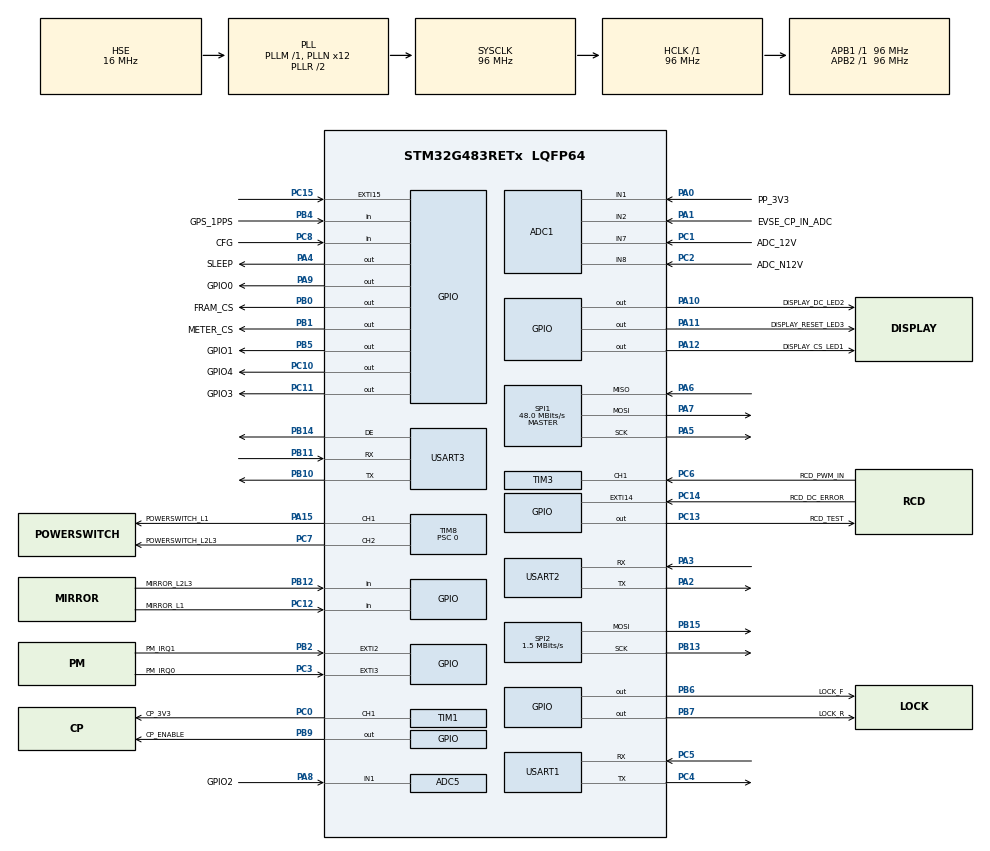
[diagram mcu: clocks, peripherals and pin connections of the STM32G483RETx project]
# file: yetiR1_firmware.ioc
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ADC1.Channel-0\#ChannelRegularConversion=ADC_CHANNEL_TEMPSENSOR_ADC1
ADC1.Channel-1\#ChannelRegularConversion=ADC_CHANNEL_1
ADC1.Channel-2\#ChannelRegularConversion=ADC_CHANNEL_7
ADC1.Channel-3\#ChannelRegularConversion=ADC_CHANNEL_8
ADC1.Channel-4\#ChannelRegularConversion=ADC_CHANNEL_2
ADC1.Channel-5\#ChannelRegularConversion=ADC_CHANNEL_VREFINT
ADC1.ClockPrescaler=ADC_CLOCK_ASYNC_DIV16
ADC1.EOCSelection=ADC_EOC_SEQ_CONV
ADC1.NbrOfConversion=6
ADC1.NbrOfConversionFlag=1
ADC1.OffsetNumber-0\#ChannelRegularConversion=ADC_OFFSET_NONE
ADC1.OffsetNumber-1\#ChannelRegularConversion=ADC_OFFSET_NONE
ADC1.OffsetNumber-2\#ChannelRegularConversion=ADC_OFFSET_NONE
ADC1.OffsetNumber-3\#ChannelRegularConversion=ADC_OFFSET_NONE
ADC1.OffsetNumber-4\#ChannelRegularConversion=ADC_OFFSET_NONE
ADC1.OffsetNumber-5\#ChannelRegularConversion=ADC_OFFSET_NONE
ADC1.Overrun=ADC_OVR_DATA_OVERWRITTEN
ADC1.Rank-0\#ChannelRegularConversion=1
ADC1.Rank-1\#ChannelRegularConversion=2
ADC1.Rank-2\#ChannelRegularConversion=3
ADC1.Rank-3\#ChannelRegularConversion=4
ADC1.Rank-4\#ChannelRegularConversion=5
ADC1.Rank-5\#ChannelRegularConversion=6
ADC1.SamplingTime-0\#ChannelRegularConversion=ADC_SAMPLETIME_12CYCLES_5
ADC1.SamplingTime-1\#ChannelRegularConversion=ADC_SAMPLETIME_12CYCLES_5
ADC1.SamplingTime-2\#ChannelRegularConversion=ADC_SAMPLETIME_12CYCLES_5
ADC1.SamplingTime-3\#ChannelRegularConversion=ADC_SAMPLETIME_12CYCLES_5
ADC1.SamplingTime-4\#ChannelRegularConversion=ADC_SAMPLETIME_24CYCLES_5
ADC1.SamplingTime-5\#ChannelRegularConversion=ADC_SAMPLETIME_12CYCLES_5
ADC1.master=1
ADC5.Channel-0\#ChannelRegularConversion=ADC_CHANNEL_1
ADC5.NbrOfConversionFlag=1
ADC5.OffsetNumber-0\#ChannelRegularConversion=ADC_OFFSET_NONE
ADC5.Rank-0\#ChannelRegularConversion=1
ADC5.SamplingTime-0\#ChannelRegularConversion=ADC_SAMPLETIME_2CYCLES_5
CRC.InputDataInversionMode=CRC_INPUTDATA_INVERSION_BYTE
CRC.OutputDataInversionMode=CRC_OUTPUTDATA_INVERSION_ENABLE
Dma.ADC1.2.Direction=DMA_PERIPH_TO_MEMORY
Dma.ADC1.2.EventEnable=DISABLE
Dma.ADC1.2.Instance=DMA1_Channel1
Dma.ADC1.2.MemDataAlignment=DMA_MDATAALIGN_HALFWORD
Dma.ADC1.2.MemInc=DMA_MINC_ENABLE
Dma.ADC1.2.Mode=DMA_NORMAL
Dma.ADC1.2.PeriphDataAlignment=DMA_PDATAALIGN_HALFWORD
Dma.ADC1.2.PeriphInc=DMA_PINC_DISABLE
Dma.ADC1.2.Polarity=HAL_DMAMUX_REQ_GEN_RISING
Dma.ADC1.2.Priority=DMA_PRIORITY_HIGH
Dma.ADC1.2.RequestNumber=1
Dma.ADC1.2.SignalID=NONE
Dma.ADC1.2.SyncEnable=DISABLE
Dma.ADC1.2.SyncPolarity=HAL_DMAMUX_SYNC_NO_EVENT
Dma.ADC1.2.SyncRequestNumber=1
Dma.ADC1.2.SyncSignalID=NONE
Dma.Request0=USART2_TX
Dma.Request1=USART2_RX
Dma.Request2=ADC1
Dma.Request3=SPI2_TX
Dma.SPI2_TX.3.Direction=DMA_MEMORY_TO_PERIPH
Dma.SPI2_TX.3.EventEnable=DISABLE
Dma.SPI2_TX.3.Instance=DMA1_Channel6
Dma.SPI2_TX.3.MemDataAlignment=DMA_MDATAALIGN_BYTE
Dma.SPI2_TX.3.MemInc=DMA_MINC_ENABLE
Dma.SPI2_TX.3.Mode=DMA_NORMAL
Dma.SPI2_TX.3.PeriphDataAlignment=DMA_PDATAALIGN_BYTE
Dma.SPI2_TX.3.PeriphInc=DMA_PINC_DISABLE
Dma.SPI2_TX.3.Polarity=HAL_DMAMUX_REQ_GEN_RISING
Dma.SPI2_TX.3.Priority=DMA_PRIORITY_LOW
Dma.SPI2_TX.3.RequestNumber=1
Dma.SPI2_TX.3.SignalID=NONE
Dma.SPI2_TX.3.SyncEnable=DISABLE
Dma.SPI2_TX.3.SyncPolarity=HAL_DMAMUX_SYNC_NO_EVENT
Dma.SPI2_TX.3.SyncRequestNumber=1
Dma.SPI2_TX.3.SyncSignalID=NONE
Dma.USART2_RX.1.Direction=DMA_PERIPH_TO_MEMORY
Dma.USART2_RX.1.EventEnable=DISABLE
Dma.USART2_RX.1.Instance=DMA2_Channel4
Dma.USART2_RX.1.MemDataAlignment=DMA_MDATAALIGN_BYTE
Dma.USART2_RX.1.MemInc=DMA_MINC_ENABLE
Dma.USART2_RX.1.Mode=DMA_CIRCULAR
Dma.USART2_RX.1.PeriphDataAlignment=DMA_PDATAALIGN_BYTE
Dma.USART2_RX.1.PeriphInc=DMA_PINC_DISABLE
Dma.USART2_RX.1.Polarity=HAL_DMAMUX_REQ_GEN_RISING
Dma.USART2_RX.1.Priority=DMA_PRIORITY_LOW
Dma.USART2_RX.1.RequestNumber=1
Dma.USART2_RX.1.SignalID=NONE
Dma.USART2_RX.1.SyncEnable=DISABLE
Dma.USART2_RX.1.SyncPolarity=HAL_DMAMUX_SYNC_NO_EVENT
Dma.USART2_RX.1.SyncRequestNumber=1
Dma.USART2_RX.1.SyncSignalID=NONE
Dma.USART2_TX.0.Direction=DMA_MEMORY_TO_PERIPH
Dma.USART2_TX.0.EventEnable=DISABLE
Dma.USART2_TX.0.Instance=DMA2_Channel3
Dma.USART2_TX.0.MemDataAlignment=DMA_MDATAALIGN_BYTE
Dma.USART2_TX.0.MemInc=DMA_MINC_ENABLE
Dma.USART2_TX.0.Mode=DMA_NORMAL
Dma.USART2_TX.0.PeriphDataAlignment=DMA_PDATAALIGN_BYTE
Dma.USART2_TX.0.PeriphInc=DMA_PINC_DISABLE
Dma.USART2_TX.0.Polarity=HAL_DMAMUX_REQ_GEN_RISING
Dma.USART2_TX.0.Priority=DMA_PRIORITY_LOW
Dma.USART2_TX.0.RequestNumber=1
Dma.USART2_TX.0.SignalID=NONE
Dma.USART2_TX.0.SyncEnable=DISABLE
Dma.USART2_TX.0.SyncPolarity=HAL_DMAMUX_SYNC_NO_EVENT
Dma.USART2_TX.0.SyncRequestNumber=1
Dma.USART2_TX.0.SyncSignalID=NONE
FREERTOS.Tasks01=defaultTask,24,512,StartDefaultTask,Default,NULL,Dynamic,NULL,NULL
FREERTOS.configENABLE_FPU=0
FREERTOS.configTICK_RATE_HZ=1000
FREERTOS.configTOTAL_HEAP_SIZE=32768
FREERTOS.configUSE_NEWLIB_REENTRANT=1
Mcu.Family=STM32G4
Mcu.Name=STM32G483RETx
Mcu.Package=LQFP64
NVIC.DMA1_Channel1_IRQn=true\:5\:0\:false\:false\:true\:true\:false\:true\:true
NVIC.DMA1_Channel6_IRQn=true\:5\:0\:false\:false\:true\:true\:false\:true\:true
NVIC.DMA2_Channel3_IRQn=true\:5\:0\:false\:false\:true\:false\:false\:true\:true
NVIC.DMA2_Channel4_IRQn=true\:5\:0\:false\:false\:true\:false\:false\:true\:true
NVIC.EXTI15_10_IRQn=true\:5\:0\:false\:false\:true\:true\:true\:true\:true
NVIC.EXTI2_IRQn=true\:5\:0\:false\:false\:true\:true\:true\:true\:true
NVIC.PriorityGroup=NVIC_PRIORITYGROUP_4
NVIC.TIM1_CC_IRQn=true\:5\:0\:false\:false\:true\:true\:true\:true\:true
NVIC.TIM1_UP_TIM16_IRQn=true\:5\:0\:false\:false\:true\:true\:true\:true\:true
NVIC.TIM3_IRQn=true\:5\:0\:false\:false\:true\:true\:true\:true\:true
NVIC.USART2_IRQn=true\:5\:0\:false\:false\:true\:true\:true\:true\:true
PA0.GPIO_Label=PP_3V3
PA0.Mode=IN1-Single-Ended
PA0.Signal=ADC1_IN1
PA1.GPIO_Label=EVSE_CP_IN_ADC
PA1.Mode=IN2-Single-Ended
PA1.Signal=ADC1_IN2
PA10.GPIO_Label=DISPLAY_DC_LED2
PA10.Signal=GPIO_Output
PA11.GPIO_Label=DISPLAY_RESET_LED3
PA11.PinState=GPIO_PIN_RESET
PA11.Signal=GPIO_Output
PA12.GPIO_Label=DISPLAY_CS_LED1
PA12.Signal=GPIO_Output
PA13.Mode=Trace_Asynchronous_SW
PA13.Signal=SYS_JTMS-SWDIO
PA14.Mode=Trace_Asynchronous_SW
PA14.Signal=SYS_JTCK-SWCLK
PA15.GPIO_Label=POWERSWITCH_L1
PA15.GPIO_PuPd=GPIO_PULLDOWN
PA15.Signal=S_TIM8_CH1
PA2.GPIO_PuPd=GPIO_PULLUP
PA2.Mode=Asynchronous
PA2.Signal=USART2_TX
PA3.GPIO_PuPd=GPIO_PULLUP
PA3.Mode=Asynchronous
PA3.Signal=USART2_RX
PA4.GPIO_Label=SLEEP
PA4.GPIO_PuPd=GPIO_PULLUP
PA4.PinState=GPIO_PIN_SET
PA4.Signal=GPIO_Output
PA5.Mode=Full_Duplex_Master
PA5.Signal=SPI1_SCK
PA6.Mode=Full_Duplex_Master
PA6.Signal=SPI1_MISO
PA7.Mode=Full_Duplex_Master
PA7.Signal=SPI1_MOSI
PA8.GPIO_Label=GPIO2
PA8.Mode=IN1-Single-Ended
PA8.Signal=ADC5_IN1
PA9.GPIO_Label=GPIO0
PA9.Signal=GPIO_Output
PB0.GPIO_Label=FRAM_CS
PB0.GPIO_PuPd=GPIO_PULLUP
PB0.PinState=GPIO_PIN_SET
PB0.Signal=GPIO_Output
PB1.GPIO_Label=METER_CS
PB1.GPIO_ModeDefaultOutputPP=GPIO_MODE_OUTPUT_PP
PB1.GPIO_PuPd=GPIO_PULLUP
PB1.PinState=GPIO_PIN_SET
PB1.Signal=GPIO_Output
PB10.Mode=Asynchronous
PB10.Signal=USART3_TX
PB11.Mode=Asynchronous
PB11.Signal=USART3_RX
PB12.GPIO_Label=MIRROR_L2L3
PB12.GPIO_PuPd=GPIO_PULLDOWN
PB12.Signal=GPIO_Input
PB13.Mode=TX_Only_Simplex_Unidirect_Master
PB13.Signal=SPI2_SCK
PB14.Mode=Hardware Flow Control (RS485)
PB14.Signal=USART3_DE
PB15.Mode=TX_Only_Simplex_Unidirect_Master
PB15.Signal=SPI2_MOSI
PB2.GPIO_Label=PM_IRQ1
PB2.GPIO_ModeDefaultEXTI=GPIO_MODE_IT_FALLING
PB2.GPIO_PuPd=GPIO_PULLUP
PB2.Signal=GPXTI2
PB3.Mode=Trace_Asynchronous_SW
PB3.Signal=SYS_JTDO-SWO
PB4.GPIO_Label=GPS_1PPS
PB4.Signal=GPIO_Input
PB5.GPIO_Label=GPIO1
PB5.Signal=GPIO_Output
PB6.GPIO_Label=LOCK_F
PB6.Signal=GPIO_Output
PB7.GPIO_Label=LOCK_R
PB7.Signal=GPIO_Output
PB9.GPIO_Label=CP_ENABLE
PB9.PinState=GPIO_PIN_RESET
PB9.Signal=GPIO_Output
PC0.GPIO_Label=CP_3V3
PC0.Signal=S_TIM1_CH1
PC1.GPIO_Label=ADC_12V
PC1.Mode=IN7-Single-Ended
PC1.Signal=ADC1_IN7
PC10.GPIO_Label=GPIO4
PC10.Signal=GPIO_Output
PC11.GPIO_Label=GPIO3
PC11.Signal=GPIO_Output
PC12.GPIO_Label=MIRROR_L1
PC12.GPIO_PuPd=GPIO_PULLDOWN
PC12.Signal=GPIO_Input
PC13.GPIO_Label=RCD_TEST
PC13.PinState=GPIO_PIN_RESET
PC13.Signal=GPIO_Output
PC14-OSC32_IN.GPIO_Label=RCD_DC_ERROR
PC14-OSC32_IN.GPIO_ModeDefaultEXTI=GPIO_MODE_IT_RISING
PC14-OSC32_IN.GPIO_PuPd=GPIO_PULLDOWN
PC14-OSC32_IN.Signal=GPXTI14
PC15-OSC32_OUT.Signal=GPXTI15
PC2.GPIO_Label=ADC_N12V
PC2.Mode=IN8-Single-Ended
PC2.Signal=ADC1_IN8
PC3.GPIO_Label=PM_IRQ0
PC3.GPIO_ModeDefaultEXTI=GPIO_MODE_IT_FALLING
PC3.GPIO_PuPd=GPIO_PULLUP
PC3.Signal=GPXTI3
PC4.Mode=Asynchronous
PC4.Signal=USART1_TX
PC5.Mode=Asynchronous
PC5.Signal=USART1_RX
PC6.GPIO_Label=RCD_PWM_IN
PC6.GPIO_PuPd=GPIO_PULLDOWN
PC6.Signal=S_TIM3_CH1
PC7.GPIO_Label=POWERSWITCH_L2L3
PC7.GPIO_PuPd=GPIO_PULLDOWN
PC7.Signal=S_TIM8_CH2
PC8.GPIO_Label=CFG
PC8.GPIO_PuPd=GPIO_PULLUP
PC8.Signal=GPIO_Input
PF0-OSC_IN.Mode=HSE-External-Oscillator
PF0-OSC_IN.Signal=RCC_OSC_IN
PF1-OSC_OUT.Mode=HSE-External-Oscillator
PF1-OSC_OUT.Signal=RCC_OSC_OUT
ProjectManager.HeapSize=0x200
ProjectManager.StackSize=0x400
ProjectManager.TargetToolchain=STM32CubeIDE
RCC.ADC12Freq_Value=96000000
RCC.ADC345Freq_Value=96000000
RCC.AHBFreq_Value=96000000
RCC.APB1Freq_Value=96000000
RCC.APB1TimFreq_Value=96000000
RCC.APB2Freq_Value=96000000
RCC.APB2TimFreq_Value=96000000
RCC.CortexFreq_Value=96000000
RCC.EXTERNAL_CLOCK_VALUE=12288000
RCC.HCLKFreq_Value=96000000
RCC.HSE_VALUE=16000000
RCC.HSI48_VALUE=48000000
RCC.HSI_VALUE=16000000
RCC.LSE_VALUE=32768
RCC.PLLN=12
RCC.PLLSourceVirtual=RCC_PLLSOURCE_HSE
RCC.SYSCLKFreq_VALUE=96000000
RCC.SYSCLKSource=RCC_SYSCLKSOURCE_PLLCLK
RCC.USBFreq_Value=96000000
RCC.VCOOutputFreq_Value=192000000
SH.S_TIM1_CH1.0=TIM1_CH1,PWM Generation1 CH1
SH.S_TIM3_CH1.0=TIM3_CH1,Input_Capture1_from_TI1
SH.S_TIM3_CH1.1=TIM3_CH1,Input_Capture2_from_TI1
SH.S_TIM8_CH1.0=TIM8_CH1,PWM Generation1 CH1
SH.S_TIM8_CH2.0=TIM8_CH2,PWM Generation2 CH2
SPI1.CLKPhase=SPI_PHASE_2EDGE
SPI1.CLKPolarity=SPI_POLARITY_HIGH
SPI1.CalculateBaudRate=48.0 MBits/s
SPI1.DataSize=SPI_DATASIZE_8BIT
SPI1.Direction=SPI_DIRECTION_2LINES
SPI1.Mode=SPI_MODE_MASTER
SPI1.VirtualType=VM_MASTER
SPI2.BaudRatePrescaler=SPI_BAUDRATEPRESCALER_64
SPI2.CLKPhase=SPI_PHASE_2EDGE
SPI2.CLKPolarity=SPI_POLARITY_HIGH
SPI2.CalculateBaudRate=1.5 MBits/s
SPI2.DataSize=SPI_DATASIZE_8BIT
SPI2.Direction=SPI_DIRECTION_2LINES
SPI2.Mode=SPI_MODE_MASTER
SPI2.VirtualType=VM_MASTER
TIM1.Channel-Output\ Compare2\ No\ Output=TIM_CHANNEL_2
TIM1.Channel-Output\ Compare3\ No\ Output=TIM_CHANNEL_3
TIM1.Channel-PWM\ Generation1\ CH1=TIM_CHANNEL_1
TIM1.OC2Preload=ENABLE
TIM1.OC3Preload-Output\ Compare3\ No\ Output=ENABLE
TIM1.OCMode_2=TIM_OCMODE_TOGGLE
TIM1.OCMode_3=TIM_OCMODE_TOGGLE
TIM1.PeriodNoDither=47999
TIM1.Prescaler=1
TIM1.PulseNoDither_1=32767
TIM1.PulseNoDither_2=200
TIM1.PulseNoDither_3=45500
TIM3.Channel-Input_Capture1_from_TI1=TIM_CHANNEL_1
TIM3.Channel-Input_Capture2_from_TI1=TIM_CHANNEL_2
TIM3.ICPolarity_CH2=TIM_INPUTCHANNELPOLARITY_FALLING
TIM8.Channel-PWM\ Generation1\ CH1=TIM_CHANNEL_1
TIM8.Channel-PWM\ Generation2\ CH2=TIM_CHANNEL_2
TIM8.PeriodNoDither=4799
TIM8.Prescaler=0
USART1.VirtualMode-Asynchronous=VM_ASYNC
USART2.VirtualMode-Asynchronous=VM_ASYNC
USART3.VirtualMode-Asynchronous=VM_ASYNC
USART3.VirtualMode-Hardware\ Flow\ Control\ (RS485)=VM_ASYNC
VP_ADC1_TempSens_Input.Mode=IN-TempSens
VP_ADC1_Vref_Input.Mode=IN-Vrefint
VP_CRC_VS_CRC.Mode=CRC_Activate
VP_FREERTOS_VS_CMSIS_V2.Mode=CMSIS_V2
VP_SYS_VS_DBSignals.Mode=DisableDeadBatterySignals
VP_TIM1_VS_no_output2.Mode=Output Compare2 No Output
VP_TIM1_VS_no_output3.Mode=Output Compare3 No Output
VP_TIM3_VS_ClockSourceINT.Mode=Internal
board=custom

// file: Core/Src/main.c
/* USER CODE BEGIN Header */
/**
  ******************************************************************************
  * @file           : main.c
  * @brief          : Main program body
  ******************************************************************************
  * @attention
  *
  * <h2><center>&copy; Copyright (c) 2021 STMicroelectronics.
  * All rights reserved.</center></h2>
  *
  * This software component is licensed by ST under BSD 3-Clause license,
  * the "License"; You may not use this file except in compliance with the
  * License. You may obtain a copy of the License at:
  *                        opensource.org/licenses/BSD-3-Clause
  *
  ******************************************************************************
  */
/* USER CODE END Header */
#include "main.h"
#include "cmsis_os.h"

/* USER CODE BEGIN Includes */
#include "EVTasks/MainTask.h"
#include "EVConfig.h"
#include <stdio.h>
#include "EVDrivers/FirmwareUpdater.h"
/* USER CODE END Includes */

ADC_HandleTypeDef hadc1;
ADC_HandleTypeDef hadc5;
DMA_HandleTypeDef hdma_adc1;

CRC_HandleTypeDef hcrc;

SPI_HandleTypeDef hspi1;
SPI_HandleTypeDef hspi2;
DMA_HandleTypeDef hdma_spi2_tx;

TIM_HandleTypeDef htim1;
TIM_HandleTypeDef htim3;
TIM_HandleTypeDef htim8;

UART_HandleTypeDef huart1;
UART_HandleTypeDef huart2;
UART_HandleTypeDef huart3;
DMA_HandleTypeDef hdma_usart2_tx;
DMA_HandleTypeDef hdma_usart2_rx;

/* Definitions for defaultTask */
osThreadId_t defaultTaskHandle;
const osThreadAttr_t defaultTask_attributes = {
  .name = "defaultTask",
  .priority = (osPriority_t) osPriorityNormal,
  .stack_size = 512 * 4
};

void SystemClock_Config(void);
static void MX_GPIO_Init(void);
static void MX_DMA_Init(void);
static void MX_USART2_UART_Init(void);
static void MX_USART1_UART_Init(void);
static void MX_USART3_UART_Init(void);
static void MX_SPI1_Init(void);
static void MX_SPI2_Init(void);
static void MX_ADC1_Init(void);
static void MX_TIM1_Init(void);
static void MX_TIM3_Init(void);
static void MX_CRC_Init(void);
static void MX_ADC5_Init(void);
static void MX_TIM8_Init(void);
void StartDefaultTask(void *argument);

int main(void)
{
  /* USER CODE BEGIN 1 */

	if (reset_flags==0x12ABCDEF) {
	  for (int i=0;i<100;i++) reset_flags = i;
	  restartInBootLoaderMode_Step2();
  }

	__HAL_RCC_USART1_CLK_ENABLE();
	__HAL_RCC_USART1_FORCE_RESET();
	__HAL_RCC_USART1_RELEASE_RESET();

  /* USER CODE END 1 */

  /* MCU Configuration--------------------------------------------------------*/

  /* Reset of all peripherals, Initializes the Flash interface and the Systick. */
  HAL_Init();

  /* Configure the system clock */
  SystemClock_Config();

  /* Initialize all configured peripherals */
  MX_GPIO_Init();
  MX_DMA_Init();
  MX_USART2_UART_Init();
  MX_USART1_UART_Init();
  MX_USART3_UART_Init();
  MX_SPI1_Init();
  MX_SPI2_Init();
  MX_ADC1_Init();
  MX_TIM1_Init();
  MX_TIM3_Init();
  MX_CRC_Init();
  MX_ADC5_Init();
  MX_TIM8_Init();
  /* USER CODE BEGIN 2 */
  HAL_NVIC_SetPriority(DMA1_Channel1_IRQn, 6, 0);
  HAL_NVIC_SetPriority(DMA1_Channel2_IRQn, 6, 0);
  HAL_NVIC_SetPriority(DMA1_Channel3_IRQn, 6, 0);
  HAL_NVIC_SetPriority(DMA1_Channel4_IRQn, 6, 0);
  HAL_NVIC_SetPriority(DMA1_Channel5_IRQn, 6, 0);
  HAL_NVIC_SetPriority(DMA1_Channel6_IRQn, 6, 0);
  HAL_NVIC_SetPriority(TIM1_UP_TIM16_IRQn, 6, 0);
  HAL_NVIC_SetPriority(TIM1_CC_IRQn, 6, 0);
  HAL_NVIC_SetPriority(TIM3_IRQn, 6, 0);
  HAL_NVIC_SetPriority(USART2_IRQn, 6, 0);
  /* USER CODE END 2 */

  /* Init scheduler */
  osKernelInitialize();

  /* Create the thread(s) */
  /* creation of defaultTask */
  defaultTaskHandle = osThreadNew(StartDefaultTask, NULL, &defaultTask_attributes);

  /* USER CODE BEGIN RTOS_THREADS */
#ifdef SELFTEST_MODE
  osThreadId_t selfTestTaskHandle;
  const osThreadAttr_t selfTestTask_attributes = {
    .name = "selfTestTask",
    .priority = (osPriority_t) osPriorityNormal,
    .stack_size = 512 * 4
  };
#endif
  /* USER CODE END RTOS_THREADS */

  /* Start scheduler */
  osKernelStart();

  /* We should never get here as control is now taken by the scheduler */
  /* Infinite loop */
  while (1)
  {

  }
}

void SystemClock_Config(void)
{
  RCC_OscInitTypeDef RCC_OscInitStruct = {0};
  RCC_ClkInitTypeDef RCC_ClkInitStruct = {0};

  /** Configure the main internal regulator output voltage
  */
  HAL_PWREx_ControlVoltageScaling(PWR_REGULATOR_VOLTAGE_SCALE1);

  /** Initializes the RCC Oscillators according to the specified parameters
  * in the RCC_OscInitTypeDef structure.
  */
  RCC_OscInitStruct.OscillatorType = RCC_OSCILLATORTYPE_HSE;
  RCC_OscInitStruct.HSEState = RCC_HSE_ON;
  RCC_OscInitStruct.PLL.PLLState = RCC_PLL_ON;
  RCC_OscInitStruct.PLL.PLLSource = RCC_PLLSOURCE_HSE;
  RCC_OscInitStruct.PLL.PLLM = RCC_PLLM_DIV1;
  RCC_OscInitStruct.PLL.PLLN = 12;
  RCC_OscInitStruct.PLL.PLLP = RCC_PLLP_DIV2;
  RCC_OscInitStruct.PLL.PLLQ = RCC_PLLQ_DIV2;
  RCC_OscInitStruct.PLL.PLLR = RCC_PLLR_DIV2;
  if (HAL_RCC_OscConfig(&RCC_OscInitStruct) != HAL_OK)
  {
    Error_Handler();
  }

  /** Initializes the CPU, AHB and APB buses clocks
  */
  RCC_ClkInitStruct.ClockType = RCC_CLOCKTYPE_HCLK|RCC_CLOCKTYPE_SYSCLK
                              |RCC_CLOCKTYPE_PCLK1|RCC_CLOCKTYPE_PCLK2;
  RCC_ClkInitStruct.SYSCLKSource = RCC_SYSCLKSOURCE_PLLCLK;
  RCC_ClkInitStruct.AHBCLKDivider = RCC_SYSCLK_DIV1;
  RCC_ClkInitStruct.APB1CLKDivider = RCC_HCLK_DIV1;
  RCC_ClkInitStruct.APB2CLKDivider = RCC_HCLK_DIV1;

  if (HAL_RCC_ClockConfig(&RCC_ClkInitStruct, FLASH_LATENCY_3) != HAL_OK)
  {
    Error_Handler();
  }
}

static void MX_ADC1_Init(void)
{

  ADC_MultiModeTypeDef multimode = {0};
  ADC_ChannelConfTypeDef sConfig = {0};

  /** Common config
  */
  hadc1.Instance = ADC1;
  hadc1.Init.ClockPrescaler = ADC_CLOCK_ASYNC_DIV16;
  hadc1.Init.Resolution = ADC_RESOLUTION_12B;
  hadc1.Init.DataAlign = ADC_DATAALIGN_RIGHT;
  hadc1.Init.GainCompensation = 0;
  hadc1.Init.ScanConvMode = ADC_SCAN_ENABLE;
  hadc1.Init.EOCSelection = ADC_EOC_SEQ_CONV;
  hadc1.Init.LowPowerAutoWait = DISABLE;
  hadc1.Init.ContinuousConvMode = DISABLE;
  hadc1.Init.NbrOfConversion = 6;
  hadc1.Init.DiscontinuousConvMode = DISABLE;
  hadc1.Init.ExternalTrigConv = ADC_SOFTWARE_START;
  hadc1.Init.ExternalTrigConvEdge = ADC_EXTERNALTRIGCONVEDGE_NONE;
  hadc1.Init.DMAContinuousRequests = DISABLE;
  hadc1.Init.Overrun = ADC_OVR_DATA_OVERWRITTEN;
  hadc1.Init.OversamplingMode = DISABLE;
  if (HAL_ADC_Init(&hadc1) != HAL_OK)
  {
    Error_Handler();
  }

  /** Configure the ADC multi-mode
  */
  multimode.Mode = ADC_MODE_INDEPENDENT;
  if (HAL_ADCEx_MultiModeConfigChannel(&hadc1, &multimode) != HAL_OK)
  {
    Error_Handler();
  }

  /** Configure Regular Channel
  */
  sConfig.Channel = ADC_CHANNEL_TEMPSENSOR_ADC1;
  sConfig.Rank = ADC_REGULAR_RANK_1;
  sConfig.SamplingTime = ADC_SAMPLETIME_12CYCLES_5;
  sConfig.SingleDiff = ADC_SINGLE_ENDED;
  sConfig.OffsetNumber = ADC_OFFSET_NONE;
  sConfig.Offset = 0;
  if (HAL_ADC_ConfigChannel(&hadc1, &sConfig) != HAL_OK)
  {
    Error_Handler();
  }

  /** Configure Regular Channel
  */
  sConfig.Channel = ADC_CHANNEL_1;
  sConfig.Rank = ADC_REGULAR_RANK_2;
  if (HAL_ADC_ConfigChannel(&hadc1, &sConfig) != HAL_OK)
  {
    Error_Handler();
  }

  /** Configure Regular Channel
  */
  sConfig.Channel = ADC_CHANNEL_7;
  sConfig.Rank = ADC_REGULAR_RANK_3;
  if (HAL_ADC_ConfigChannel(&hadc1, &sConfig) != HAL_OK)
  {
    Error_Handler();
  }

  /** Configure Regular Channel
  */
  sConfig.Channel = ADC_CHANNEL_8;
  sConfig.Rank = ADC_REGULAR_RANK_4;
  if (HAL_ADC_ConfigChannel(&hadc1, &sConfig) != HAL_OK)
  {
    Error_Handler();
  }

  /** Configure Regular Channel
  */
  sConfig.Channel = ADC_CHANNEL_2;
  sConfig.Rank = ADC_REGULAR_RANK_5;
  sConfig.SamplingTime = ADC_SAMPLETIME_24CYCLES_5;
  if (HAL_ADC_ConfigChannel(&hadc1, &sConfig) != HAL_OK)
  {
    Error_Handler();
  }

  /** Configure Regular Channel
  */
  sConfig.Channel = ADC_CHANNEL_VREFINT;
  sConfig.Rank = ADC_REGULAR_RANK_6;
  sConfig.SamplingTime = ADC_SAMPLETIME_12CYCLES_5;
  if (HAL_ADC_ConfigChannel(&hadc1, &sConfig) != HAL_OK)
  {
    Error_Handler();
  }

}

static void MX_ADC5_Init(void)
{

  ADC_ChannelConfTypeDef sConfig = {0};

  /** Common config
  */
  hadc5.Instance = ADC5;
  hadc5.Init.ClockPrescaler = ADC_CLOCK_SYNC_PCLK_DIV2;
  hadc5.Init.Resolution = ADC_RESOLUTION_12B;
  hadc5.Init.DataAlign = ADC_DATAALIGN_RIGHT;
  hadc5.Init.GainCompensation = 0;
  hadc5.Init.ScanConvMode = ADC_SCAN_DISABLE;
  hadc5.Init.EOCSelection = ADC_EOC_SINGLE_CONV;
  hadc5.Init.LowPowerAutoWait = DISABLE;
  hadc5.Init.ContinuousConvMode = DISABLE;
  hadc5.Init.NbrOfConversion = 1;
  hadc5.Init.DiscontinuousConvMode = DISABLE;
  hadc5.Init.ExternalTrigConv = ADC_SOFTWARE_START;
  hadc5.Init.ExternalTrigConvEdge = ADC_EXTERNALTRIGCONVEDGE_NONE;
  hadc5.Init.DMAContinuousRequests = DISABLE;
  hadc5.Init.Overrun = ADC_OVR_DATA_PRESERVED;
  hadc5.Init.OversamplingMode = DISABLE;
  if (HAL_ADC_Init(&hadc5) != HAL_OK)
  {
    Error_Handler();
  }

  /** Configure Regular Channel
  */
  sConfig.Channel = ADC_CHANNEL_1;
  sConfig.Rank = ADC_REGULAR_RANK_1;
  sConfig.SamplingTime = ADC_SAMPLETIME_2CYCLES_5;
  sConfig.SingleDiff = ADC_SINGLE_ENDED;
  sConfig.OffsetNumber = ADC_OFFSET_NONE;
  sConfig.Offset = 0;
  if (HAL_ADC_ConfigChannel(&hadc5, &sConfig) != HAL_OK)
  {
    Error_Handler();
  }

}

static void MX_CRC_Init(void)
{

  hcrc.Instance = CRC;
  hcrc.Init.DefaultPolynomialUse = DEFAULT_POLYNOMIAL_ENABLE;
  hcrc.Init.DefaultInitValueUse = DEFAULT_INIT_VALUE_ENABLE;
  hcrc.Init.InputDataInversionMode = CRC_INPUTDATA_INVERSION_BYTE;
  hcrc.Init.OutputDataInversionMode = CRC_OUTPUTDATA_INVERSION_ENABLE;
  hcrc.InputDataFormat = CRC_INPUTDATA_FORMAT_BYTES;
  if (HAL_CRC_Init(&hcrc) != HAL_OK)
  {
    Error_Handler();
  }

}

static void MX_SPI1_Init(void)
{

  /* SPI1 parameter configuration*/
  hspi1.Instance = SPI1;
  hspi1.Init.Mode = SPI_MODE_MASTER;
  hspi1.Init.Direction = SPI_DIRECTION_2LINES;
  hspi1.Init.DataSize = SPI_DATASIZE_8BIT;
  hspi1.Init.CLKPolarity = SPI_POLARITY_HIGH;
  hspi1.Init.CLKPhase = SPI_PHASE_2EDGE;
  hspi1.Init.NSS = SPI_NSS_SOFT;
  hspi1.Init.BaudRatePrescaler = SPI_BAUDRATEPRESCALER_2;
  hspi1.Init.FirstBit = SPI_FIRSTBIT_MSB;
  hspi1.Init.TIMode = SPI_TIMODE_DISABLE;
  hspi1.Init.CRCCalculation = SPI_CRCCALCULATION_DISABLE;
  hspi1.Init.CRCPolynomial = 7;
  hspi1.Init.CRCLength = SPI_CRC_LENGTH_DATASIZE;
  hspi1.Init.NSSPMode = SPI_NSS_PULSE_DISABLE;
  if (HAL_SPI_Init(&hspi1) != HAL_OK)
  {
    Error_Handler();
  }

}

static void MX_SPI2_Init(void)
{

  /* SPI2 parameter configuration*/
  hspi2.Instance = SPI2;
  hspi2.Init.Mode = SPI_MODE_MASTER;
  hspi2.Init.Direction = SPI_DIRECTION_2LINES;
  hspi2.Init.DataSize = SPI_DATASIZE_8BIT;
  hspi2.Init.CLKPolarity = SPI_POLARITY_HIGH;
  hspi2.Init.CLKPhase = SPI_PHASE_2EDGE;
  hspi2.Init.NSS = SPI_NSS_SOFT;
  hspi2.Init.BaudRatePrescaler = SPI_BAUDRATEPRESCALER_64;
  hspi2.Init.FirstBit = SPI_FIRSTBIT_MSB;
  hspi2.Init.TIMode = SPI_TIMODE_DISABLE;
  hspi2.Init.CRCCalculation = SPI_CRCCALCULATION_DISABLE;
  hspi2.Init.CRCPolynomial = 7;
  hspi2.Init.CRCLength = SPI_CRC_LENGTH_DATASIZE;
  hspi2.Init.NSSPMode = SPI_NSS_PULSE_DISABLE;
  if (HAL_SPI_Init(&hspi2) != HAL_OK)
  {
    Error_Handler();
  }

}

static void MX_TIM1_Init(void)
{

  TIM_MasterConfigTypeDef sMasterConfig = {0};
  TIM_OC_InitTypeDef sConfigOC = {0};
  TIM_BreakDeadTimeConfigTypeDef sBreakDeadTimeConfig = {0};

  htim1.Instance = TIM1;
  htim1.Init.Prescaler = 1;
  htim1.Init.CounterMode = TIM_COUNTERMODE_UP;
  htim1.Init.Period = 47999;
  htim1.Init.ClockDivision = TIM_CLOCKDIVISION_DIV1;
  htim1.Init.RepetitionCounter = 0;
  htim1.Init.AutoReloadPreload = TIM_AUTORELOAD_PRELOAD_DISABLE;
  if (HAL_TIM_PWM_Init(&htim1) != HAL_OK)
  {
    Error_Handler();
  }
  if (HAL_TIM_OC_Init(&htim1) != HAL_OK)
  {
    Error_Handler();
  }
  sMasterConfig.MasterOutputTrigger = TIM_TRGO_RESET;
  sMasterConfig.MasterOutputTrigger2 = TIM_TRGO2_RESET;
  sMasterConfig.MasterSlaveMode = TIM_MASTERSLAVEMODE_DISABLE;
  if (HAL_TIMEx_MasterConfigSynchronization(&htim1, &sMasterConfig) != HAL_OK)
  {
    Error_Handler();
  }
  sConfigOC.OCMode = TIM_OCMODE_PWM1;
  sConfigOC.Pulse = 32767;
  sConfigOC.OCPolarity = TIM_OCPOLARITY_HIGH;
  sConfigOC.OCNPolarity = TIM_OCNPOLARITY_HIGH;
  sConfigOC.OCFastMode = TIM_OCFAST_DISABLE;
  sConfigOC.OCIdleState = TIM_OCIDLESTATE_RESET;
  sConfigOC.OCNIdleState = TIM_OCNIDLESTATE_RESET;
  if (HAL_TIM_PWM_ConfigChannel(&htim1, &sConfigOC, TIM_CHANNEL_1) != HAL_OK)
  {
    Error_Handler();
  }
  sConfigOC.OCMode = TIM_OCMODE_TOGGLE;
  sConfigOC.Pulse = 200;
  if (HAL_TIM_OC_ConfigChannel(&htim1, &sConfigOC, TIM_CHANNEL_2) != HAL_OK)
  {
    Error_Handler();
  }
  __HAL_TIM_ENABLE_OCxPRELOAD(&htim1, TIM_CHANNEL_2);
  sConfigOC.Pulse = 45500;
  if (HAL_TIM_OC_ConfigChannel(&htim1, &sConfigOC, TIM_CHANNEL_3) != HAL_OK)
  {
    Error_Handler();
  }
  __HAL_TIM_ENABLE_OCxPRELOAD(&htim1, TIM_CHANNEL_3);
  sBreakDeadTimeConfig.OffStateRunMode = TIM_OSSR_DISABLE;
  sBreakDeadTimeConfig.OffStateIDLEMode = TIM_OSSI_DISABLE;
  sBreakDeadTimeConfig.LockLevel = TIM_LOCKLEVEL_OFF;
  sBreakDeadTimeConfig.DeadTime = 0;
  sBreakDeadTimeConfig.BreakState = TIM_BREAK_DISABLE;
  sBreakDeadTimeConfig.BreakPolarity = TIM_BREAKPOLARITY_HIGH;
  sBreakDeadTimeConfig.BreakFilter = 0;
  sBreakDeadTimeConfig.BreakAFMode = TIM_BREAK_AFMODE_INPUT;
  sBreakDeadTimeConfig.Break2State = TIM_BREAK2_DISABLE;
  sBreakDeadTimeConfig.Break2Polarity = TIM_BREAK2POLARITY_HIGH;
  sBreakDeadTimeConfig.Break2Filter = 0;
  sBreakDeadTimeConfig.Break2AFMode = TIM_BREAK_AFMODE_INPUT;
  sBreakDeadTimeConfig.AutomaticOutput = TIM_AUTOMATICOUTPUT_DISABLE;
  if (HAL_TIMEx_ConfigBreakDeadTime(&htim1, &sBreakDeadTimeConfig) != HAL_OK)
  {
    Error_Handler();
  }
  HAL_TIM_MspPostInit(&htim1);

}

static void MX_TIM3_Init(void)
{

  TIM_ClockConfigTypeDef sClockSourceConfig = {0};
  TIM_MasterConfigTypeDef sMasterConfig = {0};
  TIM_IC_InitTypeDef sConfigIC = {0};

  htim3.Instance = TIM3;
  htim3.Init.Prescaler = 0;
  htim3.Init.CounterMode = TIM_COUNTERMODE_UP;
  htim3.Init.Period = 65535;
  htim3.Init.ClockDivision = TIM_CLOCKDIVISION_DIV1;
  htim3.Init.AutoReloadPreload = TIM_AUTORELOAD_PRELOAD_DISABLE;
  if (HAL_TIM_Base_Init(&htim3) != HAL_OK)
  {
    Error_Handler();
  }
  sClockSourceConfig.ClockSource = TIM_CLOCKSOURCE_INTERNAL;
  if (HAL_TIM_ConfigClockSource(&htim3, &sClockSourceConfig) != HAL_OK)
  {
    Error_Handler();
  }
  if (HAL_TIM_IC_Init(&htim3) != HAL_OK)
  {
    Error_Handler();
  }
  sMasterConfig.MasterOutputTrigger = TIM_TRGO_RESET;
  sMasterConfig.MasterSlaveMode = TIM_MASTERSLAVEMODE_DISABLE;
  if (HAL_TIMEx_MasterConfigSynchronization(&htim3, &sMasterConfig) != HAL_OK)
  {
    Error_Handler();
  }
  sConfigIC.ICPolarity = TIM_INPUTCHANNELPOLARITY_RISING;
  sConfigIC.ICSelection = TIM_ICSELECTION_DIRECTTI;
  sConfigIC.ICPrescaler = TIM_ICPSC_DIV1;
  sConfigIC.ICFilter = 0;
  if (HAL_TIM_IC_ConfigChannel(&htim3, &sConfigIC, TIM_CHANNEL_1) != HAL_OK)
  {
    Error_Handler();
  }
  sConfigIC.ICPolarity = TIM_INPUTCHANNELPOLARITY_FALLING;
  sConfigIC.ICSelection = TIM_ICSELECTION_INDIRECTTI;
  if (HAL_TIM_IC_ConfigChannel(&htim3, &sConfigIC, TIM_CHANNEL_2) != HAL_OK)
  {
    Error_Handler();
  }

}

static void MX_TIM8_Init(void)
{

  TIM_MasterConfigTypeDef sMasterConfig = {0};
  TIM_OC_InitTypeDef sConfigOC = {0};
  TIM_BreakDeadTimeConfigTypeDef sBreakDeadTimeConfig = {0};

  htim8.Instance = TIM8;
  htim8.Init.Prescaler = 0;
  htim8.Init.CounterMode = TIM_COUNTERMODE_UP;
  htim8.Init.Period = 4799;
  htim8.Init.ClockDivision = TIM_CLOCKDIVISION_DIV1;
  htim8.Init.RepetitionCounter = 0;
  htim8.Init.AutoReloadPreload = TIM_AUTORELOAD_PRELOAD_DISABLE;
  if (HAL_TIM_PWM_Init(&htim8) != HAL_OK)
  {
    Error_Handler();
  }
  sMasterConfig.MasterOutputTrigger = TIM_TRGO_RESET;
  sMasterConfig.MasterOutputTrigger2 = TIM_TRGO2_RESET;
  sMasterConfig.MasterSlaveMode = TIM_MASTERSLAVEMODE_DISABLE;
  if (HAL_TIMEx_MasterConfigSynchronization(&htim8, &sMasterConfig) != HAL_OK)
  {
    Error_Handler();
  }
  sConfigOC.OCMode = TIM_OCMODE_PWM1;
  sConfigOC.Pulse = 0;
  sConfigOC.OCPolarity = TIM_OCPOLARITY_HIGH;
  sConfigOC.OCNPolarity = TIM_OCNPOLARITY_HIGH;
  sConfigOC.OCFastMode = TIM_OCFAST_DISABLE;
  sConfigOC.OCIdleState = TIM_OCIDLESTATE_RESET;
  sConfigOC.OCNIdleState = TIM_OCNIDLESTATE_RESET;
  if (HAL_TIM_PWM_ConfigChannel(&htim8, &sConfigOC, TIM_CHANNEL_1) != HAL_OK)
  {
    Error_Handler();
  }
  if (HAL_TIM_PWM_ConfigChannel(&htim8, &sConfigOC, TIM_CHANNEL_2) != HAL_OK)
  {
    Error_Handler();
  }
  sBreakDeadTimeConfig.OffStateRunMode = TIM_OSSR_DISABLE;
  sBreakDeadTimeConfig.OffStateIDLEMode = TIM_OSSI_DISABLE;
  sBreakDeadTimeConfig.LockLevel = TIM_LOCKLEVEL_OFF;
  sBreakDeadTimeConfig.DeadTime = 0;
  sBreakDeadTimeConfig.BreakState = TIM_BREAK_DISABLE;
  sBreakDeadTimeConfig.BreakPolarity = TIM_BREAKPOLARITY_HIGH;
  sBreakDeadTimeConfig.BreakFilter = 0;
  sBreakDeadTimeConfig.BreakAFMode = TIM_BREAK_AFMODE_INPUT;
  sBreakDeadTimeConfig.Break2State = TIM_BREAK2_DISABLE;
  sBreakDeadTimeConfig.Break2Polarity = TIM_BREAK2POLARITY_HIGH;
  sBreakDeadTimeConfig.Break2Filter = 0;
  sBreakDeadTimeConfig.Break2AFMode = TIM_BREAK_AFMODE_INPUT;
  sBreakDeadTimeConfig.AutomaticOutput = TIM_AUTOMATICOUTPUT_DISABLE;
  if (HAL_TIMEx_ConfigBreakDeadTime(&htim8, &sBreakDeadTimeConfig) != HAL_OK)
  {
    Error_Handler();
  }
  HAL_TIM_MspPostInit(&htim8);

}

static void MX_USART1_UART_Init(void)
{

  huart1.Instance = USART1;
  huart1.Init.BaudRate = 115200;
  huart1.Init.WordLength = UART_WORDLENGTH_8B;
  huart1.Init.StopBits = UART_STOPBITS_1;
  huart1.Init.Parity = UART_PARITY_NONE;
  huart1.Init.Mode = UART_MODE_TX_RX;
  huart1.Init.HwFlowCtl = UART_HWCONTROL_NONE;
  huart1.Init.OverSampling = UART_OVERSAMPLING_16;
  huart1.Init.OneBitSampling = UART_ONE_BIT_SAMPLE_DISABLE;
  huart1.Init.ClockPrescaler = UART_PRESCALER_DIV1;
  huart1.AdvancedInit.AdvFeatureInit = UART_ADVFEATURE_NO_INIT;
  if (HAL_UART_Init(&huart1) != HAL_OK)
  {
    Error_Handler();
  }
  if (HAL_UARTEx_SetTxFifoThreshold(&huart1, UART_TXFIFO_THRESHOLD_1_8) != HAL_OK)
  {
    Error_Handler();
  }
  if (HAL_UARTEx_SetRxFifoThreshold(&huart1, UART_RXFIFO_THRESHOLD_1_8) != HAL_OK)
  {
    Error_Handler();
  }
  if (HAL_UARTEx_DisableFifoMode(&huart1) != HAL_OK)
  {
    Error_Handler();
  }

}

static void MX_USART2_UART_Init(void)
{

  huart2.Instance = USART2;
  huart2.Init.BaudRate = 115200;
  huart2.Init.WordLength = UART_WORDLENGTH_8B;
  huart2.Init.StopBits = UART_STOPBITS_1;
  huart2.Init.Parity = UART_PARITY_NONE;
  huart2.Init.Mode = UART_MODE_TX_RX;
  huart2.Init.HwFlowCtl = UART_HWCONTROL_NONE;
  huart2.Init.OverSampling = UART_OVERSAMPLING_16;
  huart2.Init.OneBitSampling = UART_ONE_BIT_SAMPLE_DISABLE;
  huart2.Init.ClockPrescaler = UART_PRESCALER_DIV1;
  huart2.AdvancedInit.AdvFeatureInit = UART_ADVFEATURE_NO_INIT;
  if (HAL_UART_Init(&huart2) != HAL_OK)
  {
    Error_Handler();
  }
  if (HAL_UARTEx_SetTxFifoThreshold(&huart2, UART_TXFIFO_THRESHOLD_1_8) != HAL_OK)
  {
    Error_Handler();
  }
  if (HAL_UARTEx_SetRxFifoThreshold(&huart2, UART_RXFIFO_THRESHOLD_1_8) != HAL_OK)
  {
    Error_Handler();
  }
  if (HAL_UARTEx_DisableFifoMode(&huart2) != HAL_OK)
  {
    Error_Handler();
  }

}

static void MX_USART3_UART_Init(void)
{

  huart3.Instance = USART3;
  huart3.Init.BaudRate = 115200;
  huart3.Init.WordLength = UART_WORDLENGTH_8B;
  huart3.Init.StopBits = UART_STOPBITS_1;
  huart3.Init.Parity = UART_PARITY_NONE;
  huart3.Init.Mode = UART_MODE_TX_RX;
  huart3.Init.HwFlowCtl = UART_HWCONTROL_NONE;
  huart3.Init.OverSampling = UART_OVERSAMPLING_16;
  huart3.Init.OneBitSampling = UART_ONE_BIT_SAMPLE_DISABLE;
  huart3.Init.ClockPrescaler = UART_PRESCALER_DIV1;
  huart3.AdvancedInit.AdvFeatureInit = UART_ADVFEATURE_NO_INIT;
  if (HAL_RS485Ex_Init(&huart3, UART_DE_POLARITY_HIGH, 0, 0) != HAL_OK)
  {
    Error_Handler();
  }
  if (HAL_UARTEx_SetTxFifoThreshold(&huart3, UART_TXFIFO_THRESHOLD_1_8) != HAL_OK)
  {
    Error_Handler();
  }
  if (HAL_UARTEx_SetRxFifoThreshold(&huart3, UART_RXFIFO_THRESHOLD_1_8) != HAL_OK)
  {
    Error_Handler();
  }
  if (HAL_UARTEx_DisableFifoMode(&huart3) != HAL_OK)
  {
    Error_Handler();
  }

}

static void MX_DMA_Init(void)
{

  /* DMA controller clock enable */
  __HAL_RCC_DMAMUX1_CLK_ENABLE();
  __HAL_RCC_DMA2_CLK_ENABLE();
  __HAL_RCC_DMA1_CLK_ENABLE();

  /* DMA interrupt init */
  /* DMA1_Channel1_IRQn interrupt configuration */
  HAL_NVIC_SetPriority(DMA1_Channel1_IRQn, 5, 0);
  HAL_NVIC_EnableIRQ(DMA1_Channel1_IRQn);
  /* DMA1_Channel6_IRQn interrupt configuration */
  HAL_NVIC_SetPriority(DMA1_Channel6_IRQn, 5, 0);
  HAL_NVIC_EnableIRQ(DMA1_Channel6_IRQn);
  /* DMA2_Channel3_IRQn interrupt configuration */
  HAL_NVIC_SetPriority(DMA2_Channel3_IRQn, 5, 0);
  HAL_NVIC_EnableIRQ(DMA2_Channel3_IRQn);
  /* DMA2_Channel4_IRQn interrupt configuration */
  HAL_NVIC_SetPriority(DMA2_Channel4_IRQn, 5, 0);
  HAL_NVIC_EnableIRQ(DMA2_Channel4_IRQn);

}

static void MX_GPIO_Init(void)
{
  GPIO_InitTypeDef GPIO_InitStruct = {0};

  /* GPIO Ports Clock Enable */
  __HAL_RCC_GPIOC_CLK_ENABLE();
  __HAL_RCC_GPIOF_CLK_ENABLE();
  __HAL_RCC_GPIOA_CLK_ENABLE();
  __HAL_RCC_GPIOB_CLK_ENABLE();

  /*Configure GPIO pin Output Level */
  HAL_GPIO_WritePin(GPIOC, RCD_TEST_Pin|GPIO4_Pin|GPIO3_Pin, GPIO_PIN_RESET);

  /*Configure GPIO pin Output Level */
  HAL_GPIO_WritePin(SLEEP_GPIO_Port, SLEEP_Pin, GPIO_PIN_SET);

  /*Configure GPIO pin Output Level */
  HAL_GPIO_WritePin(GPIOB, FRAM_CS_Pin|METER_CS_Pin, GPIO_PIN_SET);

  /*Configure GPIO pin Output Level */
  HAL_GPIO_WritePin(GPIOA, GPIO0_Pin|DISPLAY_DC_LED2_Pin|DISPLAY_RESET_LED3_Pin|DISPLAY_CS_LED1_Pin, GPIO_PIN_RESET);

  /*Configure GPIO pin Output Level */
  HAL_GPIO_WritePin(GPIOB, GPIO1_Pin|LOCK_F_Pin|LOCK_R_Pin|CP_ENABLE_Pin, GPIO_PIN_RESET);

  /*Configure GPIO pins : RCD_TEST_Pin GPIO4_Pin GPIO3_Pin */
  GPIO_InitStruct.Pin = RCD_TEST_Pin|GPIO4_Pin|GPIO3_Pin;
  GPIO_InitStruct.Mode = GPIO_MODE_OUTPUT_PP;
  GPIO_InitStruct.Pull = GPIO_NOPULL;
  GPIO_InitStruct.Speed = GPIO_SPEED_FREQ_LOW;
  HAL_GPIO_Init(GPIOC, &GPIO_InitStruct);

  /*Configure GPIO pin : RCD_DC_ERROR_Pin */
  GPIO_InitStruct.Pin = RCD_DC_ERROR_Pin;
  GPIO_InitStruct.Mode = GPIO_MODE_IT_RISING;
  GPIO_InitStruct.Pull = GPIO_PULLDOWN;
  HAL_GPIO_Init(RCD_DC_ERROR_GPIO_Port, &GPIO_InitStruct);

  /*Configure GPIO pin : PC15 */
  GPIO_InitStruct.Pin = GPIO_PIN_15;
  GPIO_InitStruct.Mode = GPIO_MODE_IT_RISING;
  GPIO_InitStruct.Pull = GPIO_NOPULL;
  HAL_GPIO_Init(GPIOC, &GPIO_InitStruct);

  /*Configure GPIO pin : PM_IRQ0_Pin */
  GPIO_InitStruct.Pin = PM_IRQ0_Pin;
  GPIO_InitStruct.Mode = GPIO_MODE_IT_FALLING;
  GPIO_InitStruct.Pull = GPIO_PULLUP;
  HAL_GPIO_Init(PM_IRQ0_GPIO_Port, &GPIO_InitStruct);

  /*Configure GPIO pin : SLEEP_Pin */
  GPIO_InitStruct.Pin = SLEEP_Pin;
  GPIO_InitStruct.Mode = GPIO_MODE_OUTPUT_PP;
  GPIO_InitStruct.Pull = GPIO_PULLUP;
  GPIO_InitStruct.Speed = GPIO_SPEED_FREQ_LOW;
  HAL_GPIO_Init(SLEEP_GPIO_Port, &GPIO_InitStruct);

  /*Configure GPIO pins : FRAM_CS_Pin METER_CS_Pin */
  GPIO_InitStruct.Pin = FRAM_CS_Pin|METER_CS_Pin;
  GPIO_InitStruct.Mode = GPIO_MODE_OUTPUT_PP;
  GPIO_InitStruct.Pull = GPIO_PULLUP;
  GPIO_InitStruct.Speed = GPIO_SPEED_FREQ_LOW;
  HAL_GPIO_Init(GPIOB, &GPIO_InitStruct);

  /*Configure GPIO pin : PM_IRQ1_Pin */
  GPIO_InitStruct.Pin = PM_IRQ1_Pin;
  GPIO_InitStruct.Mode = GPIO_MODE_IT_FALLING;
  GPIO_InitStruct.Pull = GPIO_PULLUP;
  HAL_GPIO_Init(PM_IRQ1_GPIO_Port, &GPIO_InitStruct);

  /*Configure GPIO pin : MIRROR_L2L3_Pin */
  GPIO_InitStruct.Pin = MIRROR_L2L3_Pin;
  GPIO_InitStruct.Mode = GPIO_MODE_INPUT;
  GPIO_InitStruct.Pull = GPIO_PULLDOWN;
  HAL_GPIO_Init(MIRROR_L2L3_GPIO_Port, &GPIO_InitStruct);

  /*Configure GPIO pin : CFG_Pin */
  GPIO_InitStruct.Pin = CFG_Pin;
  GPIO_InitStruct.Mode = GPIO_MODE_INPUT;
  GPIO_InitStruct.Pull = GPIO_PULLUP;
  HAL_GPIO_Init(CFG_GPIO_Port, &GPIO_InitStruct);

  /*Configure GPIO pins : GPIO0_Pin DISPLAY_DC_LED2_Pin DISPLAY_RESET_LED3_Pin DISPLAY_CS_LED1_Pin */
  GPIO_InitStruct.Pin = GPIO0_Pin|DISPLAY_DC_LED2_Pin|DISPLAY_RESET_LED3_Pin|DISPLAY_CS_LED1_Pin;
  GPIO_InitStruct.Mode = GPIO_MODE_OUTPUT_PP;
  GPIO_InitStruct.Pull = GPIO_NOPULL;
  GPIO_InitStruct.Speed = GPIO_SPEED_FREQ_LOW;
  HAL_GPIO_Init(GPIOA, &GPIO_InitStruct);

  /*Configure GPIO pin : MIRROR_L1_Pin */
  GPIO_InitStruct.Pin = MIRROR_L1_Pin;
  GPIO_InitStruct.Mode = GPIO_MODE_INPUT;
  GPIO_InitStruct.Pull = GPIO_PULLDOWN;
  HAL_GPIO_Init(MIRROR_L1_GPIO_Port, &GPIO_InitStruct);

  /*Configure GPIO pin : GPS_1PPS_Pin */
  GPIO_InitStruct.Pin = GPS_1PPS_Pin;
  GPIO_InitStruct.Mode = GPIO_MODE_INPUT;
  GPIO_InitStruct.Pull = GPIO_NOPULL;
  HAL_GPIO_Init(GPS_1PPS_GPIO_Port, &GPIO_InitStruct);

  /*Configure GPIO pins : GPIO1_Pin LOCK_F_Pin LOCK_R_Pin CP_ENABLE_Pin */
  GPIO_InitStruct.Pin = GPIO1_Pin|LOCK_F_Pin|LOCK_R_Pin|CP_ENABLE_Pin;
  GPIO_InitStruct.Mode = GPIO_MODE_OUTPUT_PP;
  GPIO_InitStruct.Pull = GPIO_NOPULL;
  GPIO_InitStruct.Speed = GPIO_SPEED_FREQ_LOW;
  HAL_GPIO_Init(GPIOB, &GPIO_InitStruct);

  /* EXTI interrupt init*/
  HAL_NVIC_SetPriority(EXTI2_IRQn, 5, 0);
  HAL_NVIC_EnableIRQ(EXTI2_IRQn);

  HAL_NVIC_SetPriority(EXTI15_10_IRQn, 5, 0);
  HAL_NVIC_EnableIRQ(EXTI15_10_IRQn);

}

/* USER CODE BEGIN 4 */
int __io_putchar(int ch) {
	ITM_SendChar(ch);
	return ch;
}
/* USER CODE END 4 */

void StartDefaultTask(void *argument)
{
  /* USER CODE BEGIN 5 */
	printf ("default thread \n");

#ifdef SELFTEST_MODE
	//selfTestTaskHandle = osThreadNew(StartSelfTestTask, NULL, &selfTestTask_attributes);
	//printf ("started self test thread %u\n",(unsigned int)selfTestTaskHandle);
	StartSelfTestTask(NULL);
#else
	//mainTaskHandle = osThreadNew(StartMainTask, NULL, &mainTask_attributes);
	//printf ("started main thread %u\n",(unsigned int)mainTaskHandle);
	StartMainTask(NULL);
#endif

  /* Infinite loop */
  for(;;)
  {
	  //printf ("osThreadGetCount %u\n",osThreadGetCount());
    osDelay(1000);
  }
  /* USER CODE END 5 */
}

void Error_Handler(void)
{
  __disable_irq();
  while (1)
  {
  }
}
